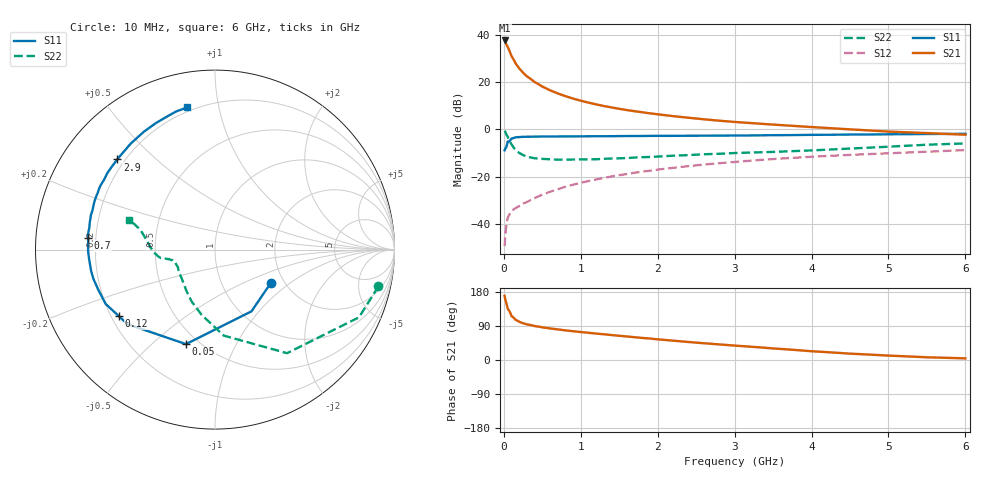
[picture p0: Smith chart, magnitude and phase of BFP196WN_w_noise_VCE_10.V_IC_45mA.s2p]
! (c) 2017  Infineon Technologies AG, Munich
! Infineon Technologies  Discrete & RF Semiconductors
! BFP196WN
! VCE =  10. V,  IC =  45 mA
! Common Emitter S-Parameters:  Jan 2017
# GHz  S  MA  R  50
!  f  S11  S21  S12  S22
! GHz  MAG  ANG  MAG  ANG  MAG  ANG  MAG  ANG
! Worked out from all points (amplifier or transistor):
!   77 points, 10 MHz to 6 GHz, reference 50 ohm
!   highest |S21| = 37.6 dB at 10 MHz (marker M1)
!   |S21| within 3 dB of that: start of sweep to 53.97 MHz
!   unconditionally stable (mu >= 1): 682.6 MHz to 2.698 GHz
!   at 130 MHz: K = 0.48, MSG = 31.6 dB, |S12| = -33.8 dB
!   at 2.2 GHz: K = 1.02, MAG = 10.0 dB, |S12| = -16.3 dB
!   at 6 GHz: K = 0.90, MSG = 3.2 dB, |S12| = -8.7 dB
!   lowest NFmin = 1.22 dB at 450 MHz
!   S11 on the Smith chart (normalised r, x): 10 MHz: 1.70, -0.73; 50 MHz: 0.43, -0.65; 120 MHz: 0.23, -0.30; 700 MHz: 0.17, +0.04; 2.9 GHz: 0.17, +0.38; 6 GHz: 0.18, +0.81
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0.01  0.3622 -31.3  75.94 169.4  0.0034 73.5  0.9332 -12.7
0.02  0.3994 -59.4  70.35 158.6  0.0062 72.2  0.8866 -25.2
0.05  0.5509 -107.1  55.54 135.4  0.0135 53.4  0.7028 -55.2
0.1  0.6406 -139.6  35.49 116.0  0.0189 47.6  0.4815 -84.2
0.12  0.6517 -145.4  31.35 113.0  0.0199 47.3  0.4328 -90.1
0.15  0.6802 -153.6  25.38 106.6  0.0215 46.8  0.371 -101.6
0.2  0.6881 -161.3  19.47 100.9  0.0239 49.6  0.3185 -113.9
0.25  0.6967 -166.4  15.79 97.0  0.0269 51.4  0.2868 -122.4
0.3  0.7004 -170.2  13.26 94.1  0.0292 54.0  0.2653 -129.6
0.4  0.7034 -175.7  10.04 89.6  0.0353 58.3  0.2456 -139.0
0.5  0.7071 -179.4  8.057 86.3  0.0415 61.3  0.2384 -145.9
0.6  0.7074 177.4  6.73 83.3  0.0481 63.6  0.2335 -150.8
0.7  0.7096 174.8  5.768 80.8  0.0541 65.7  0.2293 -154.2
0.9  0.7108 170.0  4.485 75.9  0.0679 66.1  0.2311 -158.7
1.1  0.7152 166.1  3.683 71.8  0.081 66.9  0.2328 -162.0
1.5  0.7218 159.1  2.722 63.9  0.1079 66.3  0.2447 -166.1
2.1  0.7306 149.4  1.997 52.8  0.1475 63.3  0.2722 -169.0
2.9  0.7405 137.3  1.482 39.6  0.1989 57.8  0.3108 -172.0
3.1  0.7438 134.3  1.401 36.7  0.2113 56.2  0.3201 -173.5
4.1  0.7685 119.9  1.097 21.9  0.2691 48.1  0.3661 176.4
5.1  0.7899 109.1  0.886 10.8  0.3174 40.7  0.4394 164.5
6  0.8069 101.1  0.772 4.3  0.3657 34.8  0.5052 161.2
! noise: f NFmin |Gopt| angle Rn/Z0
0.45  1.22  0.52  -178  0.05
0.9  1.34  0.55  -172  0.05
1.9  2.26  0.68  -148  0.14
2.4  2.99  0.69  -141  0.27
